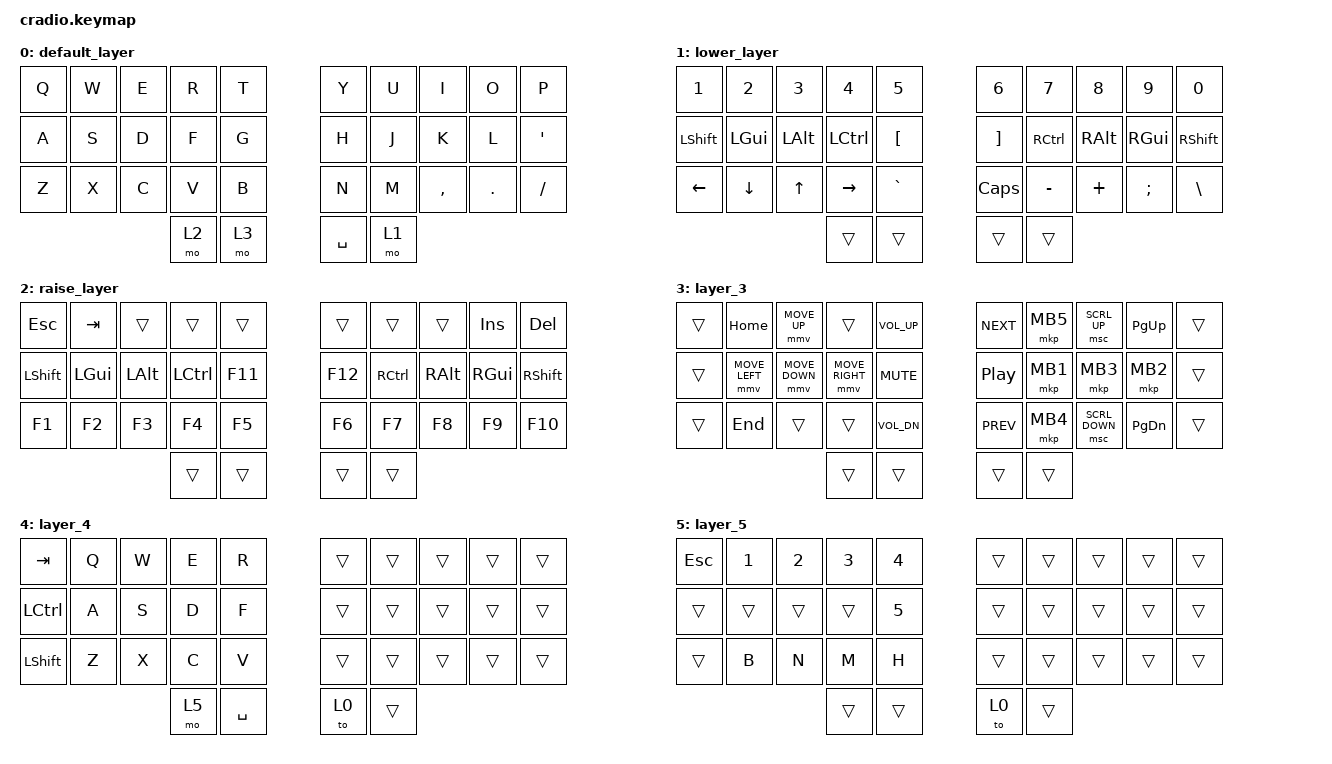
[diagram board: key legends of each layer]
#include <behaviors.dtsi>
#include <dt-bindings/zmk/keys.h>
#include <dt-bindings/zmk/pointing.h>

/ {
    combos {
        compatible = "zmk,combos";

        gaming-layer {
            bindings = <&tog 4>;
            key-positions = <30 31>;
        };

        enterkey {
            bindings = <&kp ENTER>;
            key-positions = <16 17>;
        };

        backspacekey {
            bindings = <&kp BACKSPACE>;
            key-positions = <17 18>;
        };
    };

    keymap {
        compatible = "zmk,keymap";

        default_layer {
            bindings = <
&kp Q  &kp W  &kp E  &kp R  &kp T    &kp Y      &kp U  &kp I      &kp O    &kp P
&kp A  &kp S  &kp D  &kp F  &kp G    &kp H      &kp J  &kp K      &kp L    &kp SQT
&kp Z  &kp X  &kp C  &kp V  &kp B    &kp N      &kp M  &kp COMMA  &kp DOT  &kp SLASH
                     &mo 2  &mo 3    &kp SPACE  &mo 1
            >;
        };

        lower_layer {
            bindings = <
&kp N1      &kp N2    &kp N3    &kp N4     &kp N5              &kp N6             &kp N7     &kp N8    &kp N9    &kp N0
&kp LSHIFT  &kp LGUI  &kp LALT  &kp LCTRL  &kp LEFT_BRACKET    &kp RIGHT_BRACKET  &kp RCTRL  &kp RALT  &kp RGUI  &kp RSHIFT
&kp LEFT    &kp DOWN  &kp UP    &kp RIGHT  &kp GRAVE           &kp CAPSLOCK       &kp MINUS  &kp PLUS  &kp SEMI  &kp BACKSLASH
                                &trans     &trans              &trans             &trans
            >;
        };

        raise_layer {
            bindings = <
&kp ESC     &kp TAB   &trans    &trans     &trans     &trans   &trans     &trans    &kp INS   &kp DEL
&kp LSHIFT  &kp LGUI  &kp LALT  &kp LCTRL  &kp F11    &kp F12  &kp RCTRL  &kp RALT  &kp RGUI  &kp RSHIFT
&kp F1      &kp F2    &kp F3    &kp F4     &kp F5     &kp F6   &kp F7     &kp F8    &kp F9    &kp F10
                                &trans     &trans     &trans   &trans
            >;
        };

        layer_3 {
            bindings = <
&trans  &kp HOME        &mmv MOVE_UP    &trans           &kp C_VOL_UP    &kp C_NEXT        &mkp MB5  &msc SCRL_UP    &kp PAGE_UP    &trans
&trans  &mmv MOVE_LEFT  &mmv MOVE_DOWN  &mmv MOVE_RIGHT  &kp C_MUTE      &kp C_PLAY_PAUSE  &mkp MB1  &mkp MB3        &mkp MB2       &trans
&trans  &kp END         &trans          &trans           &kp C_VOL_DN    &kp C_PREV        &mkp MB4  &msc SCRL_DOWN  &kp PAGE_DOWN  &trans
                                        &trans           &trans          &trans            &trans
            >;
        };

        layer_4 {
            bindings = <
&kp TAB     &kp Q  &kp W  &kp E  &kp R        &trans  &trans  &trans  &trans  &trans
&kp LCTRL   &kp A  &kp S  &kp D  &kp F        &trans  &trans  &trans  &trans  &trans
&kp LSHIFT  &kp Z  &kp X  &kp C  &kp V        &trans  &trans  &trans  &trans  &trans
                          &mo 5  &kp SPACE    &to 0   &trans
            >;
        };

        layer_5 {
            bindings = <
&kp ESC  &kp N1  &kp N2  &kp N3  &kp N4    &trans  &trans  &trans  &trans  &trans
&trans   &trans  &trans  &trans  &kp N5    &trans  &trans  &trans  &trans  &trans
&trans   &kp B   &kp N   &kp M   &kp H     &trans  &trans  &trans  &trans  &trans
                         &trans  &trans    &to 0   &trans
            >;
        };
    };
};
